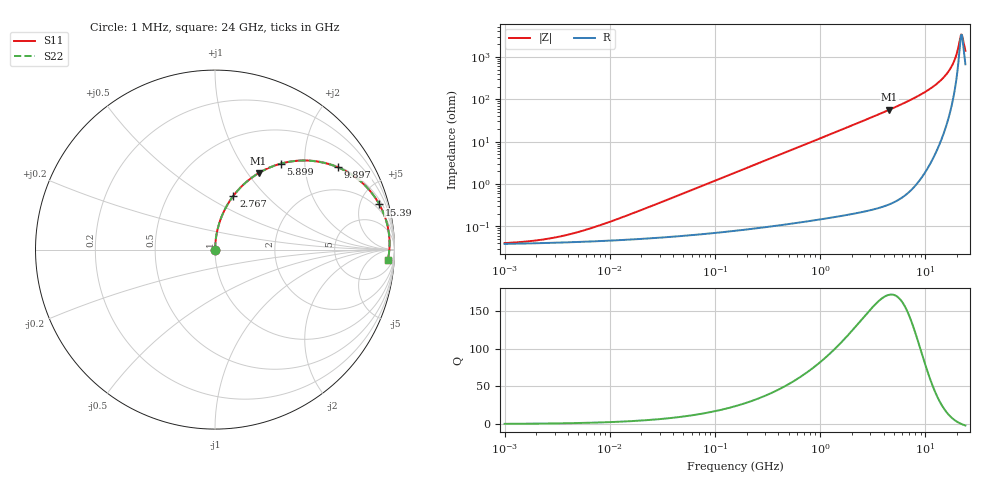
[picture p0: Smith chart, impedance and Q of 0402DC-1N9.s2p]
# MHz  S  MA  R  50
!Freq  MagS11  AngS11  MagS21  AngS21  MagS12  AngS12  MagS22  AngS22
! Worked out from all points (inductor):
!   801 points, 1 MHz to 24 GHz, reference 50 ohm
!   read as one part in series: L = 1.9 nH near 11.86 MHz
!   highest Q = 171 at 4.526 GHz (marker M1), where L = 1.98 nH
!   self-resonance near 21.92 GHz
!   S11 on the Smith chart (normalised r, x): 1 MHz: 1.00, +0.00; 2.767 GHz: 1.00, +0.67; 5.899 GHz: 1.01, +1.52; 9.897 GHz: 1.04, +2.96; 15.39 GHz: 1.39, +7.15; 24 GHz: 14, -24
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1  0.0004028 17.2  0.9996 -0.0  0.9996 -0.0  0.0004028 17.2
2.449839  0.0004991 35.8  0.9996 -0.0  0.9996 -0.0  0.0004991 35.8
5.42536  0.0007778 56.3  0.9996 -0.0  0.9996 -0.0  0.0007778 56.3
29.0654  0.003509 81.0  0.9995 -0.2  0.9995 -0.2  0.003509 81.0
155.7127  0.01859 86.5  0.999 -1.1  0.999 -1.1  0.01859 86.5
834.2029  0.09911 83.5  0.9937 -5.7  0.9937 -5.7  0.09911 83.5
1691.208  0.1987 78.0  0.9783 -11.5  0.9783 -11.5  0.1987 78.0
2766.615  0.3175 71.1  0.9461 -18.5  0.9461 -18.5  0.3175 71.1
4469.094  0.485 60.7  0.8717 -29.0  0.8717 -29.0  0.485 60.7
4525.851  0.4901 60.3  0.8688 -29.3  0.8688 -29.3  0.4901 60.3
5899.256  0.6027 52.6  0.7943 -37.1  0.7943 -37.1  0.6027 52.6
7787.088  0.7253 43.1  0.6827 -46.5  0.6827 -46.5  0.7253 43.1
9897.157  0.8239 33.8  0.5566 -55.5  0.5566 -55.5  0.8239 33.8
12738.75  0.9074 23.4  0.3974 -65.1  0.3974 -65.1  0.9074 23.4
15393.55  0.9498 15.4  0.2653 -71.5  0.2653 -71.5  0.9498 15.4
17028.85  0.9639 11.0  0.1923 -73.7  0.1923 -73.7  0.9639 11.0
18601.63  0.9712 7.3  0.1281 -73.4  0.1281 -73.4  0.9712 7.3
19564.75  0.9732 5.1  0.09201 -70.5  0.09201 -70.5  0.9732 5.1
21103.72  0.9732 1.9  0.04237 -49.8  0.04237 -49.8  0.9732 1.9
21643.16  0.9724 0.8  0.0312 -27.2  0.0312 -27.2  0.9724 0.8
22478.28  0.9704 -0.7  0.03228 23.1  0.03228 23.1  0.9704 -0.7
24000  0.9649 -3.5  0.0692 57.8  0.0692 57.8  0.9649 -3.5
